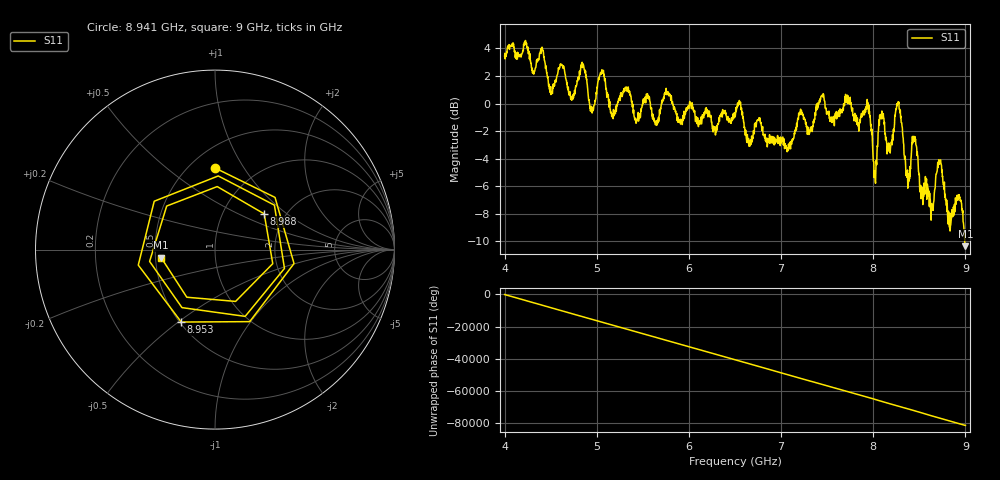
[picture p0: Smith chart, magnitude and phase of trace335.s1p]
! Created with skrf 1.8.0 (http://scikit-rf.org).
# Hz S RI R 50.0
!freq ReS11 ImS11
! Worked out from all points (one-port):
!   1601 points, 4 GHz to 9 GHz, reference 50 ohm
!   lowest |S11| = -10.4 dB at 9 GHz (marker M1), VSWR 1.87, Z = 26.8 - j2.65 ohm
!   |S11| at or under -10 dB: 8.993163 GHz to end of sweep
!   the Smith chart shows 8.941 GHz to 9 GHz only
!   S11 on the Smith chart (normalised r, x): 8.941 GHz: 0.66, +0.75; 8.953 GHz: 0.51, -0.51; 8.988 GHz: 1.56, +0.70; 9 GHz: 0.54, -0.05
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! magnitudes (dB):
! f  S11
! 4 GHz  3.4
! 4.403 GHz  4.0
! 4.503 GHz  0.7
! 4.625 GHz  2.8
! 4.738 GHz  0.3
! 4.853 GHz  2.8
! 4.944 GHz  -0.4
! 5.056 GHz  2.5
! 5.169 GHz  -1.0
! 5.25 GHz  0.5
! 5.875 GHz  -1.1
! 6.5 GHz  -0.7
! 7.125 GHz  -2.7
! 7.75 GHz  0.5
! 7.944 GHz  0.0
! 8.019 GHz  -5.0
! 8.084 GHz  -1.1
! 8.175 GHz  -3.1
! 8.269 GHz  0.1
! 8.375 GHz  -6.1
! 8.444 GHz  -2.7
! 8.634 GHz  -7.7
! 8.716 GHz  -4.2
! 8.825 GHz  -8.9
! 8.941 GHz  -6.8
! 8.953 GHz  -7.0
! 8.988 GHz  -9.4
! 9 GHz  -10.4
